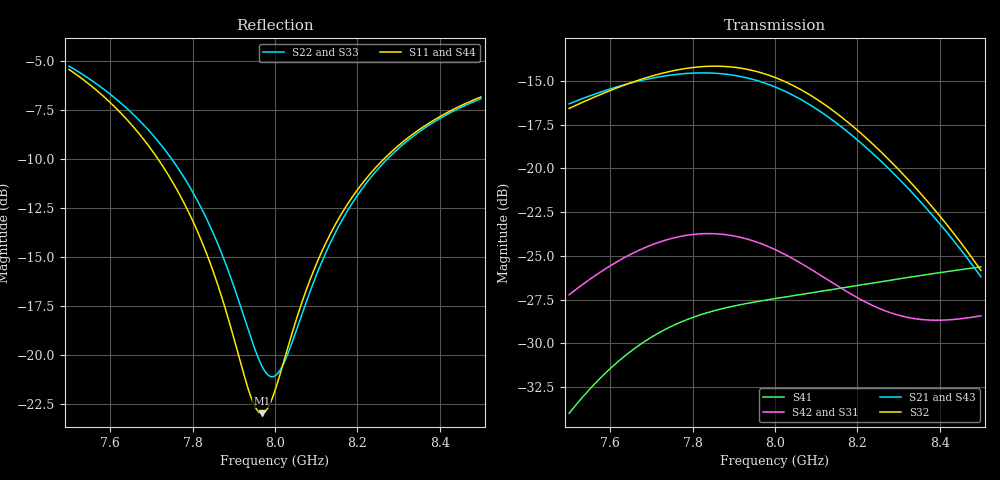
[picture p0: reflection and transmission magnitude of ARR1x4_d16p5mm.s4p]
! Touchstone file exported from HFSS 2025.1.0
!  File:  C:/Users/user/Documents/Ansoft/TFG_UWB-MIMO-Array.aedt
!  Generated:  05:34:57 PM Nov 20, 2026
!  Design:  ARR1x4_P01_MS2_dparam
!  Project:  TFG_UWB-MIMO-Array
!  Setup:  Setup_ch9
!  Solution:  Sweep_7p5_8p5
! Variables:
!  arr_d = 16.5mm
!  board_m = 13mm
!  board_x = 75.5mm
!  board_y = 26mm
!  cu_t = 0.035mm
!  line_w = 3.92mm
!  pad_xy = 22mm
!  pad_zn = 25mm
!  pad_zp = 33mm
!  patch_L = 7.322mm
!  patch_W = 11.421266mm
!  sub_h = 2.07mm
!  tr_l = 7.1mm
!  tr_w = 0.8mm
# GHz S MA R 50.000000
! Terminal data exported
! Port[1] = P1
! Port[2] = P2
! Port[3] = P3
! Port[4] = P4
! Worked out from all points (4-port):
!   1001 points, 7.5 GHz to 8.5 GHz, reference 50 ohm
!   strongest paths, dB at 7.5 GHz, 7.75 GHz, 8 GHz, 8.25 GHz, 8.5 GHz:
!     S32: -16.6, -14.4, -14.8, -18.9, -25.8
!     S21: -16.3, -14.7, -15.3, -19.4, -26.2
!     S43: -16.3, -14.7, -15.4, -19.5, -26.3
!     S42: -27.2, -24.0, -24.6, -28.0, -28.4
!     S31: -27.2, -24.0, -24.7, -28.0, -28.5
!     S41: -34.0, -29.0, -27.4, -26.5, -25.6
!   lowest |S11| = -23.0 dB at 7.968 GHz (marker M1), VSWR 1.15, Z = 56.9 + j3.03 ohm
!   |S11| at or under -10 dB: 7.715 GHz to 8.265 GHz (550.3 MHz wide, 6.89 % of centre)
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7.5  0.5336 160.0  0.1529 -25.0  0.04368 -158.0  0.01997 36.8
     0.1529 -25.0  0.5441 163.2  0.1484 -22.2  0.04356 -158.0
     0.04368 -158.0  0.1484 -22.2  0.5396 162.7  0.1531 -25.6
     0.01997 36.8  0.04356 -158.0  0.1531 -25.6  0.5336 160.1
7.762  0.2632 122.5  0.1857 -75.2  0.06366 129.7  0.03599 -56.3
       0.1857 -75.2  0.3016 127.1  0.1911 -71.4  0.06363 129.8
       0.06366 129.7  0.1911 -71.4  0.2952 126.2  0.1851 -75.9
       0.03599 -56.3  0.06363 129.8  0.1851 -75.9  0.2639 122.7
7.968  0.07083 22.0  0.1765 -120.6  0.06074 58.3  0.04186 -144.8
       0.1765 -120.6  0.09358 46.2  0.1874 -118.3  0.06084 58.5
       0.06074 58.3  0.1874 -118.3  0.09188 41.7  0.1755 -121.3
       0.04186 -144.8  0.06084 58.5  0.1755 -121.3  0.0705 23.3
8.016  0.09184 -23.8  0.1678 -131.4  0.05731 40.2  0.04276 -165.9
       0.1678 -131.4  0.09264 0.3  0.1787 -129.6  0.05743 40.4
       0.05731 40.2  0.1787 -129.6  0.0954 -3.7  0.1668 -132.1
       0.04276 -165.9  0.05743 40.4  0.1668 -132.1  0.09055 -23.0
8.098  0.1678 -59.9  0.1486 -149.4  0.05045 8.1  0.04428 159.0
       0.1486 -149.4  0.1571 -48.9  0.1586 -148.2  0.05059 8.3
       0.05045 8.1  0.1586 -148.2  0.1623 -50.2  0.1476 -150.2
       0.04428 159.0  0.05059 8.3  0.1476 -150.2  0.1662 -59.7
8.189  0.2535 -79.9  0.1237 -168.2  0.04332 -28.8  0.04606 123.0
       0.1237 -168.2  0.2446 -74.2  0.1319 -167.5  0.04346 -28.7
       0.04332 -28.8  0.1319 -167.5  0.2494 -74.7  0.1228 -169.0
       0.04606 123.0  0.04346 -28.7  0.1228 -169.0  0.2518 -79.7
8.5  0.4541 -119.1  0.04902 138.2  0.03777 -143.3  0.05231 28.5
     0.04902 138.2  0.4494 -117.9  0.0511 139.7  0.03792 -143.4
     0.03777 -143.3  0.0511 139.7  0.4518 -117.9  0.04815 137.2
     0.05231 28.5  0.03792 -143.4  0.04815 137.2  0.4529 -119.0
